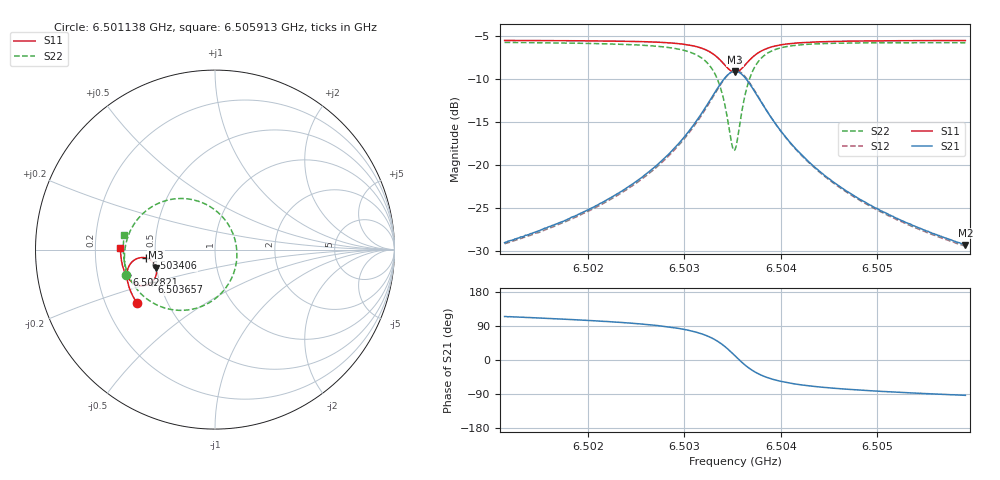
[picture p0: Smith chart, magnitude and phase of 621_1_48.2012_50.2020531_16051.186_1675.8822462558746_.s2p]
#  HZ  S  RI  R  50.00
! Rohde & Schwarz Vector Network Analyzer
! Rohde-Schwarz,ZNB20-2Port,1311601062101988,3.16
! Created: UTC 3/20/2024, 12:03:54 PM
! freq[Hz]  re:S11  im:S11  re:S21  im:S21  re:S12  im:S12  re:S22  im:S22
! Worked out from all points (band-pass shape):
!   401 points, 6.501138 GHz to 6.505913 GHz, reference 50 ohm
!   highest |S21| = -9.15 dB at 6.503526 GHz (marker M1); lowest = -29.3 dB at 6.505913 GHz (marker M2)
!   |S21| within 3 dB of the highest: 6.503287 GHz to 6.503765 GHz (477.6 kHz wide, 0.00734 % of centre)
!   lowest |S11| = -9.3 dB at 6.503526 GHz (marker M3), VSWR 2.05, Z = 24.8 - j5.63 ohm
!   |S11| at or under -10 dB: nowhere
!   |S22| runs from -18.4 to -5.8 dB; largest |S21 - S12| = 0.012
!   S11 on the Smith chart (normalised r, x): 6.501138 GHz: 0.34, -0.28; 6.502821 GHz: 0.33, -0.13; 6.503406 GHz: 0.44, -0.05; 6.503657 GHz: 0.45, -0.19; 6.505913 GHz: 0.31, +0.01
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6.5011381e9  -0.4351 -0.2973  -0.0147 0.0319  -0.0131 0.032  -0.4943 -0.1388
6.5019379e9  -0.4683 -0.2365  -0.0138 0.0506  -0.0114 0.0501  -0.5045 -0.0507
6.5023677e9  -0.4826 -0.1971  -0.0107 0.0703  -0.00763 0.0691  -0.4999 0.0131
6.5027378e9  -0.4906 -0.1547  -0.000676 0.1018  0.003 0.0994  -0.4778 0.0913
6.5028213e9  -0.491 -0.1429  0.00421 0.1125  0.00815 0.1096  -0.4671 0.1144
6.5030243e9  -0.486 -0.1089  0.0274 0.1479  0.0313 0.1435  -0.4186 0.1837
6.5031675e9  -0.4713 -0.0789  0.066 0.1822  0.0689 0.1763  -0.3437 0.2435
6.5033108e9  -0.4321 -0.0491  0.15 0.2115  0.1509 0.2051  -0.1907 0.2847
6.5034063e9  -0.3841 -0.0467  0.244 0.1942  0.2443 0.1895  -0.0283 0.2399
6.5034898e9  -0.3399 -0.0772  0.3241 0.1172  0.3272 0.113  0.1003 0.0884
6.5035257e9  -0.3288 -0.1  0.3423 0.067  0.3466 0.0615  0.1216 -0.00617
6.5035495e9  -0.3256 -0.1169  0.3457 0.0315  0.3503 0.0244  0.1191 -0.0713
6.5035853e9  -0.328 -0.1418  0.3381 -0.0202  0.3422 -0.0295  0.0909 -0.1632
6.503657e9  -0.3509 -0.1801  0.2899 -0.0989  0.2902 -0.1108  -0.0229 -0.2902
6.5037047e9  -0.372 -0.1944  0.2486 -0.1282  0.2458 -0.1403  -0.1095 -0.3281
6.5037644e9  -0.3979 -0.2012  0.2001 -0.145  0.1947 -0.1556  -0.2047 -0.3382
6.5039196e9  -0.4464 -0.1918  0.1136 -0.1409  0.1064 -0.1465  -0.3603 -0.2882
6.5040867e9  -0.4748 -0.1703  0.0668 -0.119  0.0602 -0.1216  -0.4359 -0.2197
6.5043255e9  -0.4961 -0.1406  0.0354 -0.093  0.0304 -0.0937  -0.4812 -0.145
6.5047075e9  -0.5125 -0.0995  0.0148 -0.0671  0.0114 -0.0667  -0.5052 -0.0646
6.5051253e9  -0.5213 -0.0601  0.00551 -0.0506  0.00294 -0.0501  -0.5112 -0.00288
6.5059132e9  -0.5266 0.00745  -0.00195 -0.0341  -0.00333 -0.0334  -0.5042 0.0836
